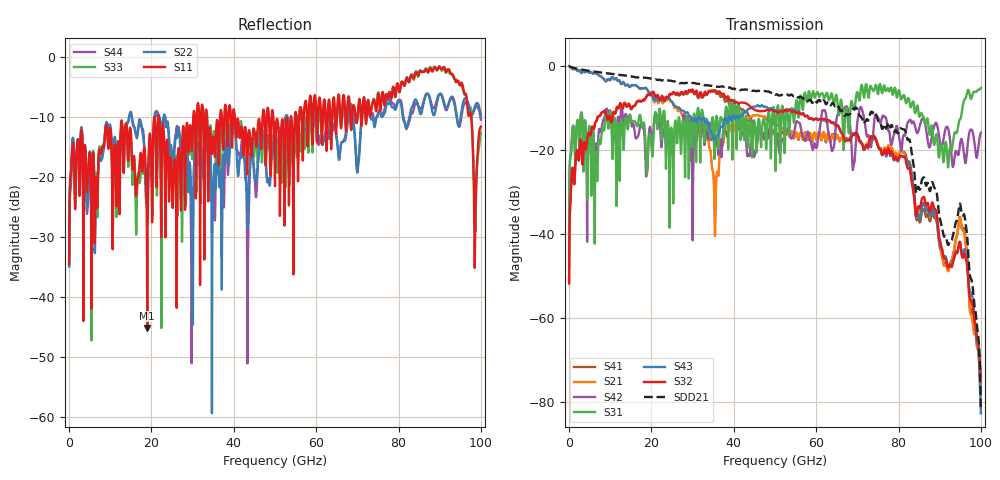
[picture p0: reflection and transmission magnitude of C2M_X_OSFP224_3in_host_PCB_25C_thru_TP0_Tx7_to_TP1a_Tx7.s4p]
# GHz S RI R 45
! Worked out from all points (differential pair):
!   4000 points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, 25 MHz to 100 GHz, reference 45 ohm
!   strongest paths, dB at 25 MHz, 25.02 GHz, 50.02 GHz, 75.03 GHz, 100 GHz:
!     S32: -51.8, -6.6, -10.9, -19.2, -73.8
!     S43: -0.1, -8.6, -10.6, -19.2, -82.7
!     S31: -40.0, -16.5, -18.0, -6.8, -5.3
!     S42: -40.1, -20.6, -13.9, -12.3, -15.9
!     S21: -0.1, -8.7, -14.2, -18.9, -74.1
!     S41: -51.8, -6.8, -16.8, -19.0, -74.5
!   taken as a pair (ports 3,1 in; 4,2 out), SDD21 dB: -0.1, -3.7, -6.9, -13.0, -80.5
!   lowest |S11| = -45.1 dB at 19 GHz (marker M1), VSWR 1.01, Z = 45.4 + j0.325 ohm
!   |S11| at or under -10 dB: start of sweep to 20.72 GHz; 21.86 GHz to 30.15 GHz (8.295 GHz wide, 31.9 % of centre); 40.27 GHz to 46.99 GHz (6.721 GHz wide, 15.4 % of centre) (the widest 3 of 31)
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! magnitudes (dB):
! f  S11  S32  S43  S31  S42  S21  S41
! 25 MHz  -34.5  -51.8  -0.1  -40.0  -40.1  -0.1  -51.8
! 2.45 GHz  -18.1  -22.1  -1.1  -18.3  -17.0  -1.1  -22.0
! 19 GHz  -45.1  -7.0  -5.7  -24.7  -24.9  -5.7  -7.1
! 35.42 GHz  -16.6  -5.8  -17.3  -18.7  -19.4  -40.4  -6.1
! 81.35 GHz  -4.8  -21.8  -21.5  -7.0  -16.5  -20.8  -20.6
! 95.47 GHz  -4.4  -45.5  -45.1  -10.4  -18.0  -39.0  -38.6
! 100 GHz  -11.6  -73.8  -82.7  -5.3  -15.9  -74.1  -74.5
